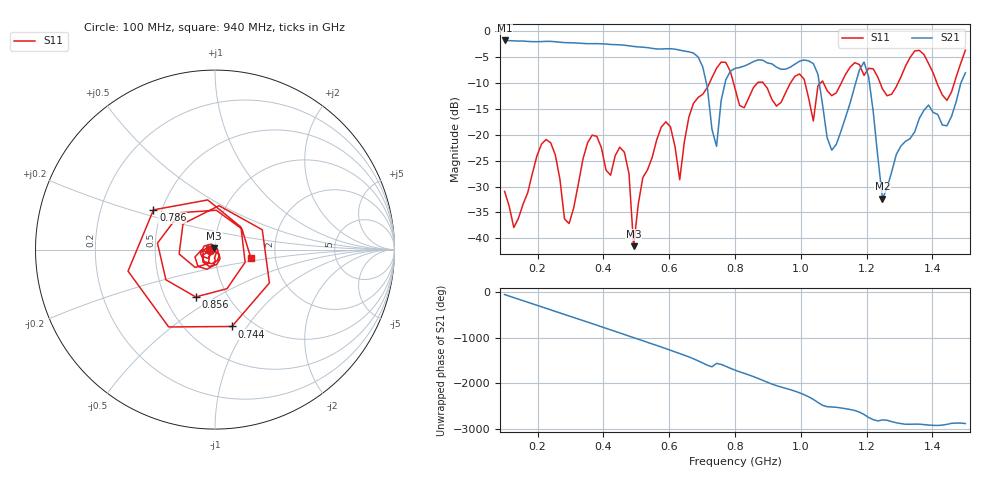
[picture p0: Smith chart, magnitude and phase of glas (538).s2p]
! NanoVNA-App
! Date: 2025-09-25 15:59:40
! Start: 100MHz Stop: 1,5GHz Points: 101
! S-Parameter data: F S11 S21 S12 S22
# Hz S RI R 50
!  Frequency  S11_Real  S11_Imag  S21_Real  S21_Imag  S12_Real  S12_Imag  S22_Real  S22_Imag
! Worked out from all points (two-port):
!   101 points, 100 MHz to 1.5 GHz, reference 50 ohm
!   highest |S21| = -1.80 dB at 100 MHz (marker M1); lowest = -32.3 dB at 1.248 GHz (marker M2)
!   |S21| within 3 dB of the highest: start of sweep to 684.4 MHz
!   lowest |S11| = -41.5 dB at 492 MHz (marker M3), VSWR 1.02, Z = 49.5 + j0.644 ohm
!   |S11| at or under -10 dB: start of sweep to 722.5 MHz; 795.4 MHz to 868.2 MHz (72.75 MHz wide, 8.75 % of centre); 886 MHz to 968.6 MHz (82.58 MHz wide, 8.91 % of centre) (the widest 3 of 7)
!   S12 and S22 are empty: the file has one direction only
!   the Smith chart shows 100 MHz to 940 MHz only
!   S11 on the Smith chart (normalised r, x): 100 MHz: 0.95, -0.01; 744 MHz: 0.80, -0.85; 786 MHz: 0.45, +0.24; 856 MHz: 0.71, -0.41; 940 MHz: 1.49, -0.15
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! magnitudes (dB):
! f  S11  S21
! 100 MHz  -30.9  -1.8
! 128 MHz  -37.9  -1.9
! 226 MHz  -20.9  -2.0
! 296 MHz  -37.1  -2.2
! 338 MHz  -24.7  -2.4
! 464 MHz  -23.4  -2.7
! 492 MHz  -41.5  -3.0
! 576 MHz  -18.5  -3.5
! 632 MHz  -28.7  -3.7
! 702 MHz  -12.2  -6.9
! 744 MHz  -7.2  -22.2
! 786 MHz  -7.8  -7.7
! 800 MHz  -11.1  -7.2
! 856 MHz  -10.9  -5.9
! 940 MHz  -13.7  -7.4
! 1.038 GHz  -17.4  -6.3
! 1.094 GHz  -12.5  -23.0
! 1.192 GHz  -8.5  -6.0
! 1.248 GHz  -11.1  -32.3
! 1.276 GHz  -12.2  -27.2
! 1.444 GHz  -13.4  -18.3
! 1.5 GHz  -3.7  -8.1
